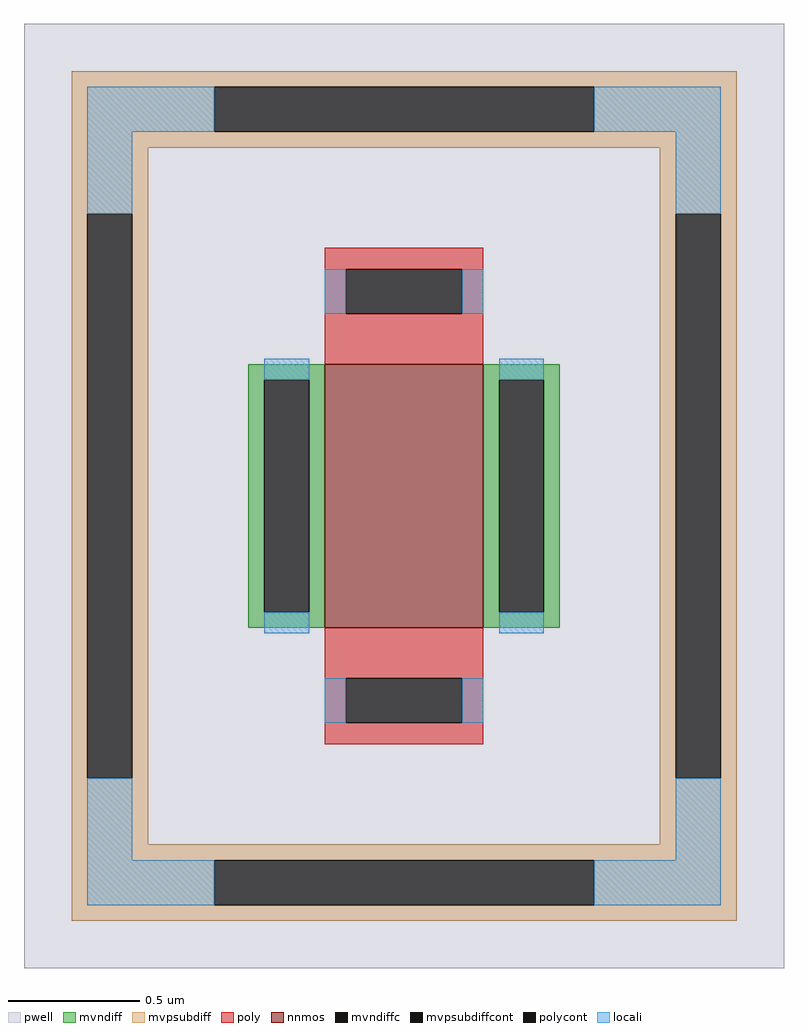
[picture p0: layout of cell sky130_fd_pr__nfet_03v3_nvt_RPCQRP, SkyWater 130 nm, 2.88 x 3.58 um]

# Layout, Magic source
magic
tech sky130A
<< pwell >>
rect -144 -179 144 179
<< nnmos >>
rect -30 -50 30 50
<< mvndiff >>
rect -59 44 -30 50
rect -59 -44 -53 44
rect -36 -44 -30 44
rect -59 -50 -30 -44
rect 30 44 59 50
rect 30 -44 36 44
rect 53 -44 59 44
rect 30 -50 59 -44
<< mvndiffc >>
rect -53 -44 -36 44
rect 36 -44 53 44
<< mvpsubdiff >>
rect -126 155 126 161
rect -126 138 -72 155
rect 72 138 126 155
rect -126 132 126 138
rect -126 107 -97 132
rect -126 -107 -120 107
rect -103 -107 -97 107
rect 97 107 126 132
rect -126 -132 -97 -107
rect 97 -107 103 107
rect 120 -107 126 107
rect 97 -132 126 -107
rect -126 -138 126 -132
rect -126 -155 -72 -138
rect 72 -155 126 -138
rect -126 -161 126 -155
<< mvpsubdiffcont >>
rect -72 138 72 155
rect -120 -107 -103 107
rect 103 -107 120 107
rect -72 -155 72 -138
<< poly >>
rect -30 86 30 94
rect -30 69 -22 86
rect 22 69 30 86
rect -30 50 30 69
rect -30 -69 30 -50
rect -30 -86 -22 -69
rect 22 -86 30 -69
rect -30 -94 30 -86
<< polycont >>
rect -22 69 22 86
rect -22 -86 22 -69
<< locali >>
rect -120 138 -72 155
rect 72 138 120 155
rect -120 107 -103 138
rect 103 107 120 138
rect -30 69 -22 86
rect 22 69 30 86
rect -53 44 -36 52
rect -53 -52 -36 -44
rect 36 44 53 52
rect 36 -52 53 -44
rect -30 -86 -22 -69
rect 22 -86 30 -69
rect -120 -138 -103 -107
rect 103 -138 120 -107
rect -120 -155 -72 -138
rect 72 -155 120 -138
<< properties >>
string gencell sky130_fd_pr__nfet_03v3_nvt
string FIXED_BBOX -111 -146 111 146
string parameters w 1 l 0.60 m 1 nf 1 diffcov 100 polycov 100 guard 1 glc 1 grc 1 gtc 1 gbc 1 tbcov 100 rlcov 100 topc 1 botc 1 poverlap 0 doverlap 1 lmin 0.50 wmin 0.42 compatible {sky130_fd_pr__nfet_01v8 sky130_fd_pr__nfet_01v8_lvt  sky130_fd_bs_flash__special_sonosfet_star  sky130_fd_pr__nfet_g5v0d10v5 sky130_fd_pr__nfet_05v0_nvt  sky130_fd_pr__nfet_03v3_nvt} full_metal 1 viasrc 100 viadrn 100 viagate 100 viagb 0 viagr 0 viagl 0 viagt 0
string library sky130
<< end >>
